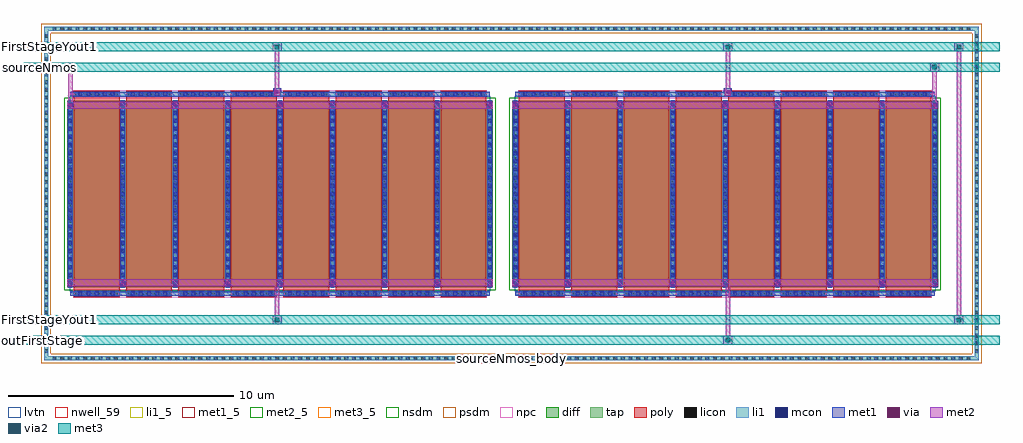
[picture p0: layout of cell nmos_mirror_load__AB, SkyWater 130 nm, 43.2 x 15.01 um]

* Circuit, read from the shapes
.subckt nmos_mirror_load__AB FirstStageYout1 outFirstStage sourceNmos sourceNmos_body
XM1 FirstStageYout1 FirstStageYout1 sourceNmos sourceNmos_body sky130_fd_pr__nfet_01v8_lvt w=8.27 l=2.03 m=8
XM2 outFirstStage FirstStageYout1 sourceNmos sourceNmos_body sky130_fd_pr__nfet_01v8_lvt w=8.27 l=2.03 m=8
.ends

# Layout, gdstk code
from math import pi, radians
import gdstk
lib = gdstk.Library(unit=1e-6, precision=1e-09)
def R(c, l, rs):  # rectangles x0, y0, x1, y1
    for r in rs: c.add(gdstk.rectangle(r[:2], r[2:], *l))
def A(c, l, x, y, w, h, nx, ny, dx, dy):  # array of equal rectangles
    R(c, l, [(x+i*dx, y+j*dy, x+i*dx+w, y+j*dy+h) for i in range(nx) for j in range(ny)])
nwell_59 = (64, 59)
diff = (65, 20)
tap = (65, 44)
poly = (66, 20)
licon = (66, 44)
li1_5 = (67, 5)
li1 = (67, 20)
mcon = (67, 44)
met1_5 = (68, 5)
met1 = (68, 20)
via = (68, 44)
met2_5 = (69, 5)
met2 = (69, 20)
via2 = (69, 44)
met3_5 = (70, 5)
met3 = (70, 20)
nsdm = (93, 44)
psdm = (94, 20)
npc = (95, 20)
lvtn = (125, 44)

sky130_fd_pr__nfet_01v8_ = lib.new_cell('sky130_fd_pr__nfet_01v8_lvt_4LZ4RL')
R(sky130_fd_pr__nfet_01v8_, diff, [(-9.425,-4.135,9.425,4.135)])
A(sky130_fd_pr__nfet_01v8_, poly, -9.135, -4.575, 2.03, 9.15, 8, 1, 2.32, 0)
A(sky130_fd_pr__nfet_01v8_, licon, -9.055, -4.495, 0.17, 0.17, 6, 2, 0.34, 8.82)
A(sky130_fd_pr__nfet_01v8_, licon, -6.735, -4.495, 0.17, 0.17, 6, 2, 0.34, 8.82)
A(sky130_fd_pr__nfet_01v8_, licon, -4.415, -4.495, 0.17, 0.17, 6, 2, 0.34, 8.82)
A(sky130_fd_pr__nfet_01v8_, licon, -2.095, -4.495, 0.17, 0.17, 6, 2, 0.34, 8.82)
A(sky130_fd_pr__nfet_01v8_, licon, 0.225, -4.495, 0.17, 0.17, 6, 2, 0.34, 8.82)
A(sky130_fd_pr__nfet_01v8_, licon, 2.545, -4.495, 0.17, 0.17, 6, 2, 0.34, 8.82)
A(sky130_fd_pr__nfet_01v8_, licon, 4.865, -4.495, 0.17, 0.17, 6, 2, 0.34, 8.82)
A(sky130_fd_pr__nfet_01v8_, licon, 7.185, -4.495, 0.17, 0.17, 6, 2, 0.34, 8.82)
A(sky130_fd_pr__nfet_01v8_, licon, -9.365, -3.995, 0.17, 0.17, 9, 24, 2.32, 0.34)
A(sky130_fd_pr__nfet_01v8_, li1, -9.365, -4.155, 0.17, 8.31, 9, 1, 2.32, 0)
R(sky130_fd_pr__nfet_01v8_, li1, [(-9.28,-4.495,9.28,-4.325), (-9.28,4.325,9.28,4.495)])
A(sky130_fd_pr__nfet_01v8_, mcon, -8.925, -4.495, 0.17, 0.17, 5, 2, 0.36, 8.82)
A(sky130_fd_pr__nfet_01v8_, mcon, -6.605, -4.495, 0.17, 0.17, 5, 2, 0.36, 8.82)
A(sky130_fd_pr__nfet_01v8_, mcon, -4.285, -4.495, 0.17, 0.17, 5, 2, 0.36, 8.82)
A(sky130_fd_pr__nfet_01v8_, mcon, -1.965, -4.495, 0.17, 0.17, 5, 2, 0.36, 8.82)
A(sky130_fd_pr__nfet_01v8_, mcon, 0.355, -4.495, 0.17, 0.17, 5, 2, 0.36, 8.82)
A(sky130_fd_pr__nfet_01v8_, mcon, 2.675, -4.495, 0.17, 0.17, 5, 2, 0.36, 8.82)
A(sky130_fd_pr__nfet_01v8_, mcon, 4.995, -4.495, 0.17, 0.17, 5, 2, 0.36, 8.82)
A(sky130_fd_pr__nfet_01v8_, mcon, 7.315, -4.495, 0.17, 0.17, 5, 2, 0.36, 8.82)
A(sky130_fd_pr__nfet_01v8_, mcon, -9.365, -4.045, 0.17, 0.17, 9, 23, 2.32, 0.36)
A(sky130_fd_pr__nfet_01v8_, met1, -9.115, -4.525, 1.99, 0.03, 8, 2, 2.32, 0.2)
A(sky130_fd_pr__nfet_01v8_, met1, -9.395, -4.135, 0.23, 8.27, 9, 1, 2.32, 0)
A(sky130_fd_pr__nfet_01v8_, met1, -9.115, 4.295, 1.99, 0.03, 8, 2, 2.32, 0.2)
R(sky130_fd_pr__nfet_01v8_, met1, [(-9.28,-4.495,9.28,-4.325), (-9.28,4.325,9.28,4.495)])
R(sky130_fd_pr__nfet_01v8_, nsdm, [(-9.55,-4.26,9.55,4.26)])
R(sky130_fd_pr__nfet_01v8_, npc, [(-9.155,-4.595,9.155,-4.225), (-9.155,4.225,9.155,4.595)])
R(sky130_fd_pr__nfet_01v8_, lvtn, [(-9.315,-4.315,9.315,4.315)])
sky130_fd_pr__nfet_01v8_.add(gdstk.Label('D0', (-9.28,0), layer=67, texttype=5))
sky130_fd_pr__nfet_01v8_.add(gdstk.Label('G', (8.12,4.41), layer=67, texttype=5))
sky130_fd_pr__nfet_01v8_.add(gdstk.Label('G', (5.8,4.41), layer=67, texttype=5))
sky130_fd_pr__nfet_01v8_.add(gdstk.Label('G', (3.48,4.41), layer=67, texttype=5))
sky130_fd_pr__nfet_01v8_.add(gdstk.Label('G', (1.16,4.41), layer=67, texttype=5))
sky130_fd_pr__nfet_01v8_.add(gdstk.Label('G', (-1.16,4.41), layer=67, texttype=5))
sky130_fd_pr__nfet_01v8_.add(gdstk.Label('G', (-3.48,4.41), layer=67, texttype=5))
sky130_fd_pr__nfet_01v8_.add(gdstk.Label('G', (-5.8,4.41), layer=67, texttype=5))
sky130_fd_pr__nfet_01v8_.add(gdstk.Label('G', (-8.12,4.41), layer=67, texttype=5))
sky130_fd_pr__nfet_01v8_.add(gdstk.Label('S1', (-6.96,0), layer=67, texttype=5))
sky130_fd_pr__nfet_01v8_.add(gdstk.Label('D2', (-4.64,0), layer=67, texttype=5))
sky130_fd_pr__nfet_01v8_.add(gdstk.Label('S3', (-2.32,0), layer=67, texttype=5))
sky130_fd_pr__nfet_01v8_.add(gdstk.Label('D4', (0,0), layer=67, texttype=5))
sky130_fd_pr__nfet_01v8_.add(gdstk.Label('S5', (2.32,0), layer=67, texttype=5))
sky130_fd_pr__nfet_01v8_.add(gdstk.Label('D6', (4.64,0), layer=67, texttype=5))
sky130_fd_pr__nfet_01v8_.add(gdstk.Label('S7', (6.96,0), layer=67, texttype=5))

nfet_01v8_lvt_w66p13_l2p = lib.new_cell('nfet_01v8_lvt_W66p13_L2p03_m1__nf8_gboth_sdfull_outS_ng')
R(nfet_01v8_lvt_w66p13_l2p, nwell_59, [(0.05,4.525,0.15,4.625)])
R(nfet_01v8_lvt_w66p13_l2p, met1_5, [(0.145,8.87,18.705,9.1)])
A(nfet_01v8_lvt_w66p13_l2p, met1, 2.335, 0.49, 0.26, 0.32, 4, 1, 4.64, 0)
A(nfet_01v8_lvt_w66p13_l2p, met1, 0.015, 8.34, 0.26, 0.32, 5, 1, 4.64, 0)
R(nfet_01v8_lvt_w66p13_l2p, met1, [(0.145,8.87,18.705,9.1)])
A(nfet_01v8_lvt_w66p13_l2p, via, 2.39, 0.575, 0.15, 0.15, 4, 1, 4.64, 0)
A(nfet_01v8_lvt_w66p13_l2p, via, 0.07, 8.425, 0.15, 0.15, 5, 1, 4.64, 0)
R(nfet_01v8_lvt_w66p13_l2p, met2_5, [(0.01,0.49,18.84,0.81), (0.01,8.34,18.84,8.66)])
R(nfet_01v8_lvt_w66p13_l2p, met2, [(0.01,0.49,18.84,0.81), (0.01,8.34,18.84,8.66)])
nfet_01v8_lvt_w66p13_l2p.add(gdstk.Reference(sky130_fd_pr__nfet_01v8_, (9.425,4.575)))
nfet_01v8_lvt_w66p13_l2p.add(gdstk.Label('S', (9.425,8.5), layer=69, texttype=5))
nfet_01v8_lvt_w66p13_l2p.add(gdstk.Label('D', (9.425,0.65), layer=69, texttype=5))
nfet_01v8_lvt_w66p13_l2p.add(gdstk.Label('G', (9.425,8.985), layer=68, texttype=5))
nfet_01v8_lvt_w66p13_l2p.add(gdstk.Label('B', (0.1,4.575), layer=64, texttype=59))

nmos_mirror_load__ab = lib.new_cell('nmos_mirror_load__AB')
R(nmos_mirror_load__ab, tap, [(-0.885,-2.785,40.485,-2.615), (-0.885,-2.615,-0.715,11.805), (40.315,-2.615,40.485,11.805), (-0.885,11.805,40.485,11.975)])
A(nmos_mirror_load__ab, licon, -0.515, -2.785, 0.17, 0.17, 120, 2, 0.34, 14.59)
A(nmos_mirror_load__ab, licon, -0.885, -2.46, 0.17, 0.17, 1, 42, 0, 0.34)
A(nmos_mirror_load__ab, licon, 40.315, -2.46, 0.17, 0.17, 1, 42, 0, 0.34)
R(nmos_mirror_load__ab, li1_5, [(19.75,-2.75,19.85,-2.65)])
R(nmos_mirror_load__ab, li1, [(-0.885,-2.785,40.485,-2.615), (-0.885,-2.615,-0.715,11.805), (40.315,-2.615,40.485,11.805), (-0.885,11.805,40.485,11.975)])
R(nmos_mirror_load__ab, met1, [(9.245,8.9,9.605,9.26), (29.195,8.9,29.555,9.26)])
R(nmos_mirror_load__ab, via, [(9.35,9.005,9.5,9.155), (29.3,9.005,29.45,9.155)])
R(nmos_mirror_load__ab, met2, [(29.175,-2.1,29.575,-1.7), (29.275,-1.7,29.475,0.59), (9.225,-1.2,9.625,-0.8), (39.4,-1.2,39.8,-0.8), (9.325,-0.8,9.525,0.59), (39.5,-0.8,39.7,10.89), (0.17,8.56,0.37,9.99), (38.43,8.56,38.63,9.99), (9.295,8.92,9.555,9.24), (29.245,8.92,29.505,9.24), (9.325,9.24,9.525,10.89), (29.275,9.24,29.475,10.89), (0.07,9.99,0.47,10.39), (38.33,9.99,38.73,10.39), (9.225,10.89,9.625,11.29), (29.175,10.89,29.575,11.29), (39.4,10.89,39.8,11.29)])
R(nmos_mirror_load__ab, via2, [(29.275,-2,29.475,-1.8), (9.325,-1.1,9.525,-0.9), (39.5,-1.1,39.7,-0.9), (0.17,10.09,0.37,10.29), (38.43,10.09,38.63,10.29), (9.325,10.99,9.525,11.19), (29.275,10.99,29.475,11.19), (39.5,10.99,39.7,11.19)])
R(nmos_mirror_load__ab, met3_5, [(-1.7,-1.95,-1.6,-1.85), (-1.7,-1.05,-1.6,-0.95), (-1.7,10.14,-1.6,10.24), (-1.7,11.04,-1.6,11.14)])
R(nmos_mirror_load__ab, met3, [(-1.8,-2.1,41.4,-1.7), (-1.8,-1.2,41.4,-0.8), (-1.8,9.99,41.4,10.39), (-1.8,10.89,41.4,11.29)])
R(nmos_mirror_load__ab, psdm, [(-1.01,-2.91,40.61,-2.49), (-1.01,-2.49,-0.59,11.68), (40.19,-2.49,40.61,11.68), (-1.01,11.68,40.61,12.1)])
nmos_mirror_load__ab.add(gdstk.Reference(nfet_01v8_lvt_w66p13_l2p, (38.68,0), rotation=pi, x_reflection=True))
nmos_mirror_load__ab.add(gdstk.Reference(nfet_01v8_lvt_w66p13_l2p, (0.13,0)))
nmos_mirror_load__ab.add(gdstk.Label('sourceNmos', (-1.65,10.19), layer=70, texttype=5))
nmos_mirror_load__ab.add(gdstk.Label('FirstStageYout1', (-1.65,11.09), layer=70, texttype=5))
nmos_mirror_load__ab.add(gdstk.Label('FirstStageYout1', (-1.65,-1), layer=70, texttype=5))
nmos_mirror_load__ab.add(gdstk.Label('outFirstStage', (-1.65,-1.9), layer=70, texttype=5))
nmos_mirror_load__ab.add(gdstk.Label('sourceNmos_body', (19.8,-2.7), layer=67, texttype=5))

lib.write_gds('nmos_mirror_load__AB.gds')
